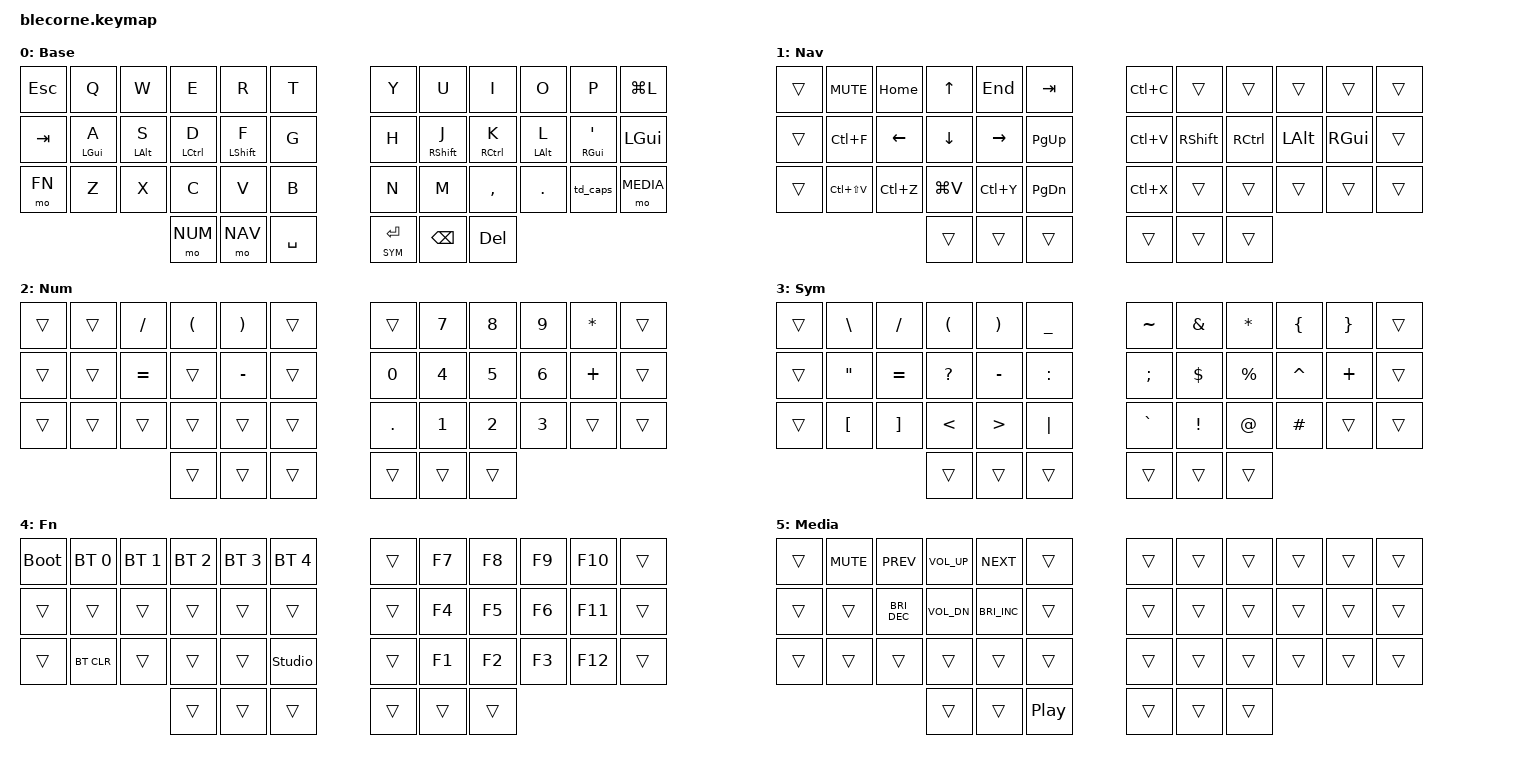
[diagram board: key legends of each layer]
/*
 * ════════════════════════════════════════════════════════════════════════════
 *  KLIMT — ZMK keymap for the Boardsource Wireless Corne SMT ("blecorne")
 *  Windows · home-row mods · Enter-hold symbol layer · ZMK Studio compatible
 * ════════════════════════════════════════════════════════════════════════════
 *
 *  HOW TO READ THIS FILE
 *  Anything between slash-star and star-slash (like this block) is a comment:
 *  the keyboard ignores it. Everything else is the actual configuration.
 *
 *  WHAT'S IN HERE, IN ORDER
 *    PART 1  Setup ............ libraries, layer names, shortcut nicknames
 *    PART 2  Custom keys ...... home-row mods, Enter/Symbol key, Caps key
 *            (all the TIMING settings you might want to tune live here)
 *    PART 3  The six layers ... each one has a picture of the keyboard above it
 *              Layer 0  BASE   letters, always on
 *              Layer 1  NAV    hold the left middle thumb (arrows, editing)
 *              Layer 2  NUM    hold the left outer thumb  (numpad)
 *              Layer 3  SYM    hold Enter                 (all symbols)
 *              Layer 4  FN     hold Fn, bottom-left       (F-keys, Bluetooth)
 *              Layer 5  MEDIA  hold Media, bottom-right   (volume, brightness)
 *
 *  KEY NAMES USED IN THE COMMENTS
 *  Rows A (top) / B (home) / C (bottom), columns 1–12 from left to right,
 *  the same grid as the keycap planning. Esc is A1, Media is C12.
 *
 *  HOW A LINE OF KEYS WORKS
 *  Each layer has 4 lines of keys: top row, home row, bottom row, thumbs.
 *  Every line lists the left half's keys first, then the right half's.
 *    &kp X           tap → types X
 *    &hml LCTRL D    tap → D,  hold → Ctrl   (home-row mod)
 *    &mo NAV         hold → NAV layer while held
 *    &trans          "transparent": does whatever the layer below does
 *
 *  ZMK's internal position numbers (only needed for the opposite-hand rule):
 *      0  1  2  3  4  5  |  6  7  8  9 10 11
 *     12 13 14 15 16 17  | 18 19 20 21 22 23
 *     24 25 26 27 28 29  | 30 31 32 33 34 35
 *              36 37 38  | 39 40 41
 *
 *  TUNING GUIDE (changes here need a reflash; ZMK Studio can't change timing)
 *   - Letters come out as modifiers by accident?  Raise tapping-term-ms
 *     in PART 2 by 20, e.g. 280 → 300.
 *   - Holding a modifier feels slow?  Lower tapping-term-ms by 20. Go slowly;
 *     the guide's advice is to start high and come down over weeks.
 *   - Win/Alt/Ctrl fire while typing fast?  Raise require-prior-idle-ms
 *     (150 → 175).
 *   - Enter triggers the symbol layer by mistake, or symbols come out as
 *     Enter?  Adjust tapping-term-ms on lt_sym (200).
 * ════════════════════════════════════════════════════════════════════════════
 */

/* ────────────────────────────────────────────────────────────────────────────
 *  PART 1 · SETUP
 * ──────────────────────────────────────────────────────────────────────────── */

/* Libraries: these give us the key names (A, ENTER, C_VOL_UP…) and the
   built-in behaviors (&kp, &mo, Bluetooth, Caps Word…). Don't remove. */
#include <behaviors.dtsi>
#include <dt-bindings/zmk/keys.h>
#include <dt-bindings/zmk/bt.h>
#include <dt-bindings/zmk/outputs.h>

/* Layer names → numbers. The order matters: higher layers sit "on top". */
#define BASE  0
#define NAV   1
#define NUM   2
#define SYM   3
#define FN    4
#define MEDIA 5

/* Which positions belong to which hand (see the number map at the top).
   Used by the opposite-hand rule for home-row mods in PART 2. */
#define KEYS_L 0 1 2 3 4 5 12 13 14 15 16 17 24 25 26 27 28 29
#define KEYS_R 6 7 8 9 10 11 18 19 20 21 22 23 30 31 32 33 34 35
#define THUMBS 36 37 38 39 40 41

/* Nicknames for Windows shortcuts used on the NAV layer and the Lock key.
   LC(...) = Ctrl + key, LS(...) = Shift + key, LG(...) = Win + key. */
#define W_COPY   LC(C)
#define W_PASTE  LC(V)
#define W_CUT    LC(X)
#define W_UNDO   LC(Z)
#define W_REDO   LC(Y)
#define W_FIND   LC(F)
#define W_PLAIN  LC(LS(V))   /* paste as plain text */
#define W_CLIPS  LG(V)       /* clipboard history */
#define W_LOCK   LG(L)       /* Win+L locks the PC: the "logout" key, A12 */

/* Tells ZMK (and ZMK Studio) the physical shape of the board: 6 columns per
   side. Copied from Boardsource's own keymap. Don't remove. */
/ {
    chosen {
        zmk,physical-layout = &foostan_corne_6col_layout;
    };
};

/* ────────────────────────────────────────────────────────────────────────────
 *  PART 2 · CUSTOM KEYS (behaviors)
 *  Each block below defines a kind of key. The name before the colon
 *  (hml, hmr, hsl, hsr, lt_sym, td_caps) is what the layers in PART 3 use.
 *
 *  What the settings mean:
 *    flavor "balanced"        a key becomes a HOLD if you press and release
 *                             another key while holding it, or hold it past
 *                             the tapping term; otherwise it's a TAP
 *    tapping-term-ms          how long (ms) before a held key counts as held
 *    require-prior-idle-ms    if you pressed any key within this many ms,
 *                             this key is always a tap (protects fast typing)
 *    hold-trigger-key-positions  the opposite-hand rule: only these keys
 *                             can turn it into a hold
 *    hold-trigger-on-release  lets you stack two mods on the same hand
 *                             (e.g. Ctrl+Shift with D+F) before the other key
 *    quick-tap-ms             tap then hold quickly = repeat the tap
 * ──────────────────────────────────────────────────────────────────────────── */
/ {
    behaviors {
        /* Home-row mods, tuned for a beginner at ~75 wpm.
           - Opposite-hand rule: a mod only activates when the next key is on the
             other hand (or a thumb), so same-hand rolls like "as" or "df" stay letters.
           - "balanced" + 280 ms: a long tapping term is safe because the
             opposite-hand rule blocks most misfires; holding a mod and tapping a
             key on the other hand activates it immediately, without waiting.
           - require-prior-idle: within 150 ms of your last keystroke these keys
             always type their letter, so fast typing can't trigger Win/Alt/Ctrl.
           - No quick-tap: you never hold letters to repeat them, so a tap followed
             by a hold always gives the modifier.
           - Ctrl+click: hold D or K for a beat (past 280 ms) before clicking. */
        /* hml = Home-row Mod, Left hand: A (Win), S (Alt), D (Ctrl) */
        hml: home_row_mod_left {
            compatible = "zmk,behavior-hold-tap";
            #binding-cells = <2>;
            flavor = "balanced";
            tapping-term-ms = <280>;
            require-prior-idle-ms = <150>;
            hold-trigger-key-positions = <KEYS_R THUMBS>;
            hold-trigger-on-release;
            bindings = <&kp>, <&kp>;
        };
        /* hmr = Home-row Mod, Right hand: K (Ctrl), L (Alt), ' (Win) */
        hmr: home_row_mod_right {
            compatible = "zmk,behavior-hold-tap";
            #binding-cells = <2>;
            flavor = "balanced";
            tapping-term-ms = <280>;
            require-prior-idle-ms = <150>;
            hold-trigger-key-positions = <KEYS_L THUMBS>;
            hold-trigger-on-release;
            bindings = <&kp>, <&kp>;
        };

        /* hsl / hsr = Home-row Shift, Left (F) and Right (J).
           Shift on F and J: same as above but WITHOUT require-prior-idle, so a
           capital right after a space or mid-sentence still works at full speed. */
        hsl: home_row_shift_left {
            compatible = "zmk,behavior-hold-tap";
            #binding-cells = <2>;
            flavor = "balanced";
            tapping-term-ms = <280>;
            hold-trigger-key-positions = <KEYS_R THUMBS>;
            hold-trigger-on-release;
            bindings = <&kp>, <&kp>;
        };
        hsr: home_row_shift_right {
            compatible = "zmk,behavior-hold-tap";
            #binding-cells = <2>;
            flavor = "balanced";
            tapping-term-ms = <280>;
            hold-trigger-key-positions = <KEYS_L THUMBS>;
            hold-trigger-on-release;
            bindings = <&kp>, <&kp>;
        };

        /* lt_sym = the right 1.5u thumb (Enter).
           Enter on tap, symbol layer on hold. No retro-tap: holding Enter and
           letting go without pressing anything sends nothing (no accidental sends). */
        lt_sym: enter_symbol_layer {
            compatible = "zmk,behavior-hold-tap";
            #binding-cells = <2>;
            flavor = "balanced";
            tapping-term-ms = <200>;
            quick-tap-ms = <175>;
            bindings = <&mo>, <&kp>;
        };

        /* td_caps = the C11 key (tap dance).
           One tap  = Caps Word: CAPITALS until you type a space or punctuation.
           Two taps = Caps Lock: stays on until you double-tap again. */
        td_caps: caps_word_or_lock {
            compatible = "zmk,behavior-tap-dance";
            #binding-cells = <0>;
            tapping-term-ms = <250>;
            bindings = <&caps_word>, <&kp CAPSLOCK>;
        };
    };

    /* ────────────────────────────────────────────────────────────────────────
     *  PART 3 · THE SIX LAYERS
     *  Each layer: a name, a picture, then the bindings in the same order as
     *  the picture (left half, then right half, row by row, thumbs last).
     * ──────────────────────────────────────────────────────────────────────── */
    keymap {
        compatible = "zmk,keymap";

        /* ── LAYER 0 · BASE ──────────────────────────────────────────────────
           Always on. Home row: tap for the letter, hold for the modifier
           (GACS order: Win, Alt, Ctrl, Shift from pinky to index).
           A12 Lock = Win+L. B12 Super = Win key. C11 Caps = Caps Word / Lock.
           C1 Fn and C12 Media switch layers while held.
           Thumbs, left→right: Num · Nav · Space | Enter(hold=Sym) · Bksp · Del
           (Space is on the 1.5u key nearest the split, the most comfortable
           thumb position for big hands; Nav moved to the middle key.) */
        base_layer {
            display-name = "Base";
/* ╭────────┬────────┬────────┬────────┬────────┬────────╮   ╭────────┬────────┬────────┬────────┬────────┬────────╮
   │  Esc   │   Q    │   W    │   E    │   R    │   T    │   │   Y    │   U    │   I    │   O    │   P    │  Lock  │
   │  Tab   │ A/Win  │ S/Alt  │ D/Ctrl │ F/Shft │   G    │   │   H    │ J/Shft │ K/Ctrl │ L/Alt  │ '/Win  │ Super  │
   │   Fn   │   Z    │   X    │   C    │   V    │   B    │   │   N    │   M    │   ,    │   .    │  Caps  │ Media  │
   ╰────────┴────────┴────────┼────────┼────────┼────────┤   ├────────┼────────┼────────┼────────┴────────┴────────╯
                              │  Num   │  Nav   │ Space  │   │Ent/Sym │  Bksp  │  Del   │
                              ╰────────┴────────┴────────╯   ╰────────┴────────┴────────╯ */
            bindings = <
    &kp ESC   &kp Q          &kp W          &kp E           &kp R           &kp T        &kp Y   &kp U        &kp I           &kp O          &kp P          &kp W_LOCK
    &kp TAB   &hml LGUI A    &hml LALT S    &hml LCTRL D    &hsl LSHFT F    &kp G        &kp H   &hsr RSHFT J &hmr RCTRL K    &hmr LALT L    &hmr RGUI SQT  &kp LGUI
    &mo FN    &kp Z          &kp X          &kp C           &kp V           &kp B        &kp N   &kp M        &kp COMMA       &kp DOT        &td_caps       &mo MEDIA
                                            &mo NUM         &mo NAV         &kp SPACE    &lt_sym SYM ENTER    &kp BSPC        &kp DEL
            >;
        };

        /* ── LAYER 1 · NAV ───────────────────────────────────────────────────
           Held with the left middle thumb. Left hand = arrows and editing,
           right hand = clipboard + plain modifiers (no hold needed here), so
           Shift+arrows selects text and Ctrl+arrows jumps by word.
           Mute is on Q; volume and brightness live on the MEDIA layer.
           Z = paste as plain text, C = Windows clipboard history (Win+V). */
        nav_layer {
            display-name = "Nav";
/* hold the left middle thumb
   ╭────────┬────────┬────────┬────────┬────────┬────────╮   ╭────────┬────────┬────────┬────────┬────────┬────────╮
   │        │  Mute  │  Home  │   ↑    │  End   │  Tab   │   │  Copy  │        │        │        │        │        │
   │        │  Find  │   ←    │   ↓    │   →    │  PgUp  │   │ Paste  │ Shift  │  Ctrl  │  Alt   │  Win   │        │
   │        │ Plain  │  Undo  │ Clips  │  Redo  │  PgDn  │   │  Cut   │        │        │        │        │        │
   ╰────────┴────────┴────────┼────────┼────────┼────────┤   ├────────┼────────┼────────┼────────┴────────┴────────╯
                              │        │ (held) │        │   │        │        │        │
                              ╰────────┴────────┴────────╯   ╰────────┴────────┴────────╯ */
            bindings = <
    &trans    &kp C_MUTE     &kp HOME       &kp UP          &kp END         &kp TAB      &kp W_COPY   &trans       &trans          &trans         &trans         &trans
    &trans    &kp W_FIND       &kp LEFT       &kp DOWN        &kp RIGHT       &kp PG_UP    &kp W_PASTE  &kp RSHFT    &kp RCTRL       &kp LALT       &kp RGUI       &trans
    &trans    &kp W_PLAIN      &kp W_UNDO       &kp W_CLIPS       &kp W_REDO        &kp PG_DN    &kp W_CUT    &trans       &trans          &trans         &trans         &trans
                                            &trans          &trans          &trans       &trans                  &trans          &trans
            >;
        };

        /* ── LAYER 2 · NUM ───────────────────────────────────────────────────
           Held with the left outer thumb. Numpad on the right hand.
           The math keys on the left (/ ( ) = -) and + on B11 sit exactly where
           those symbols are printed for the SYM layer, so the legends match.
           The keys shown blank keep their base-layer job (&trans). */
        num_layer {
            display-name = "Num";
/* hold the left outer thumb. Left-hand math keys sit where the same symbols
   are printed for the symbol layer, so one legend serves both layers.
   * on P is the one unprinted extra (top right, like a numpad).
   ╭────────┬────────┬────────┬────────┬────────┬────────╮   ╭────────┬────────┬────────┬────────┬────────┬────────╮
   │        │        │   /    │   (    │   )    │        │   │        │   7    │   8    │   9    │   *    │        │
   │        │        │   =    │        │   -    │        │   │   0    │   4    │   5    │   6    │   +    │        │
   │        │        │        │        │        │        │   │   .    │   1    │   2    │   3    │        │        │
   ╰────────┴────────┴────────┼────────┼────────┼────────┤   ├────────┼────────┼────────┼────────┴────────┴────────╯
                              │ (held) │        │        │   │        │        │        │
                              ╰────────┴────────┴────────╯   ╰────────┴────────┴────────╯ */
            bindings = <
    &trans    &trans         &kp FSLH       &kp LPAR        &kp RPAR        &trans       &trans     &kp N7       &kp N8          &kp N9         &kp STAR       &trans
    &trans    &trans         &kp EQUAL      &trans          &kp MINUS       &trans       &kp N0     &kp N4       &kp N5          &kp N6         &kp PLUS       &trans
    &trans    &trans         &trans         &trans          &trans          &trans       &kp DOT    &kp N1       &kp N2          &kp N3         &trans         &trans
                                            &trans          &trans          &trans       &trans                  &trans          &trans
            >;
        };

        /* ── LAYER 3 · SYM ───────────────────────────────────────────────────
           Held with Enter. Every symbol is where its legend is printed
           (top-right of each keycap). Pairs roll inward: ( ) on E R,
           [ ] on Z X, < > on C V, { } on O P. !–* sit over 1–8. */
        sym_layer {
            display-name = "Sym";
/* hold Enter
   ╭────────┬────────┬────────┬────────┬────────┬────────╮   ╭────────┬────────┬────────┬────────┬────────┬────────╮
   │        │   \    │   /    │   (    │   )    │   _    │   │   ~    │   &    │   *    │   {    │   }    │        │
   │        │   "    │   =    │   ?    │   -    │   :    │   │   ;    │   $    │   %    │   ^    │   +    │        │
   │        │   [    │   ]    │   <    │   >    │   |    │   │   `    │   !    │   @    │   #    │        │        │
   ╰────────┴────────┴────────┼────────┼────────┼────────┤   ├────────┼────────┼────────┼────────┴────────┴────────╯
                              │        │        │        │   │ (held) │        │        │
                              ╰────────┴────────┴────────╯   ╰────────┴────────┴────────╯ */
            bindings = <
    &trans    &kp BSLH       &kp FSLH       &kp LPAR        &kp RPAR        &kp UNDER    &kp TILDE  &kp AMPS     &kp STAR        &kp LBRC       &kp RBRC       &trans
    &trans    &kp DQT        &kp EQUAL      &kp QMARK       &kp MINUS       &kp COLON    &kp SEMI   &kp DLLR     &kp PRCNT       &kp CARET      &kp PLUS       &trans
    &trans    &kp LBKT       &kp RBKT       &kp LT          &kp GT          &kp PIPE     &kp GRAVE  &kp EXCL     &kp AT          &kp HASH       &trans         &trans
                                            &trans          &trans          &trans       &trans                  &trans          &trans
            >;
        };

        /* ── LAYER 4 · FN ────────────────────────────────────────────────────
           Held with Fn (C1). F1–F12 on the right in numpad shape.
           Bluetooth: Fn+Q/W/E/R/T picks device slot 1–5; Fn+Z forgets the
           current slot's pairing. Fn+Esc = bootloader (for flashing firmware).
           Fn+B = unlock ZMK Studio. */
        fn_layer {
            display-name = "Fn";
/* hold Fn (C1). F-keys follow the numpad shape; Bluetooth profiles on the left.
   Fn+Esc = bootloader (for flashing). Fn+Z clears the current Bluetooth pairing.
   Fn+B = unlock ZMK Studio (needed when you open Studio to edit the keymap live).
   ╭────────┬────────┬────────┬────────┬────────┬────────╮   ╭────────┬────────┬────────┬────────┬────────┬────────╮
   │ Boot   │  BT 1  │  BT 2  │  BT 3  │  BT 4  │  BT 5  │   │        │   F7   │   F8   │   F9   │  F10   │        │
   │        │        │        │        │        │        │   │        │   F4   │   F5   │   F6   │  F11   │        │
   │ (held) │ BT clr │        │        │        │ Studio │   │        │   F1   │   F2   │   F3   │  F12   │        │
   ╰────────┴────────┴────────┼────────┼────────┼────────┤   ├────────┼────────┼────────┼────────┴────────┴────────╯ */
            bindings = <
    &bootloader &bt BT_SEL 0 &bt BT_SEL 1   &bt BT_SEL 2    &bt BT_SEL 3    &bt BT_SEL 4 &trans     &kp F7       &kp F8          &kp F9         &kp F10        &trans
    &trans    &trans         &trans         &trans          &trans          &trans       &trans     &kp F4       &kp F5          &kp F6         &kp F11        &trans
    &trans    &bt BT_CLR     &trans         &trans          &trans          &studio_unlock &trans   &kp F1       &kp F2          &kp F3         &kp F12        &trans
                                            &trans          &trans          &trans       &trans                  &trans          &trans
            >;
        };

        /* ── LAYER 5 · MEDIA ─────────────────────────────────────────────────
           Held with Media (C12). Uses the arrow keys from NAV:
           Up/Down = volume, Left/Right = screen brightness (laptop screens
           only; external monitors ignore it). W/R = previous/next track,
           Space = play/pause, Q = mute. */
        media_layer {
            display-name = "Media";
/* hold Media (C12). Media + the arrow keys: Up/Down = volume, Left/Right = screen brightness.
   Prev/Next sit on the Home/End keys, play/pause on Space.
   ╭────────┬────────┬────────┬────────┬────────┬────────╮   ╭────────┬────────┬────────┬────────┬────────┬────────╮
   │        │  Mute  │  Prev  │ Vol +  │  Next  │        │   │        │        │        │        │        │        │
   │        │        │ Bri −  │ Vol −  │ Bri +  │        │   │        │        │        │        │        │        │
   │        │        │        │        │        │        │   │        │        │        │        │        │ (held) │
   ╰────────┴────────┴────────┼────────┼────────┼────────┤   ├────────┼────────┼────────┼────────┴────────┴────────╯
                              │        │        │Play/Pa │   │        │        │        │
                              ╰────────┴────────┴────────╯   ╰────────┴────────┴────────╯ */
            bindings = <
    &trans    &kp C_MUTE     &kp C_PREV     &kp C_VOL_UP    &kp C_NEXT      &trans       &trans     &trans       &trans          &trans         &trans         &trans
    &trans    &trans         &kp C_BRI_DEC  &kp C_VOL_DN    &kp C_BRI_INC   &trans       &trans     &trans       &trans          &trans         &trans         &trans
    &trans    &trans         &trans         &trans          &trans          &trans       &trans     &trans       &trans          &trans         &trans         &trans
                                            &trans          &trans          &kp C_PP     &trans                  &trans          &trans
            >;
        };
    };
};
